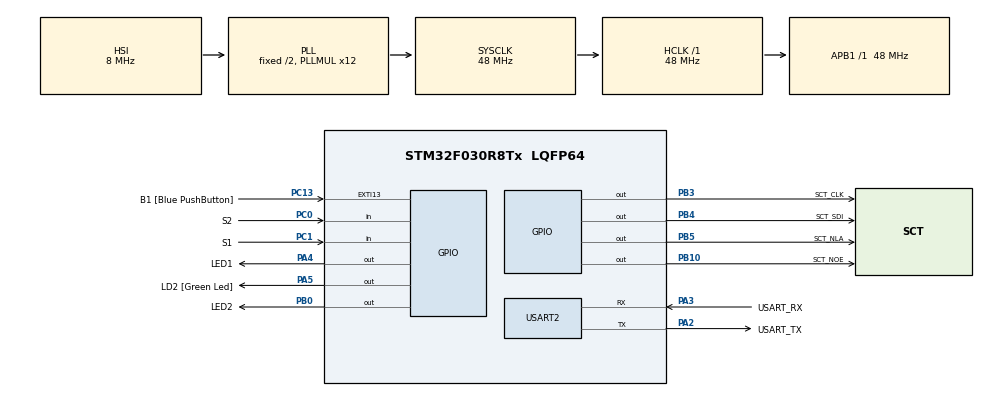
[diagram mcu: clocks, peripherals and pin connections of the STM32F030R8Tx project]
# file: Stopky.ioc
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Mcu.Family=STM32F0
Mcu.Name=STM32F030R8Tx
Mcu.Package=LQFP64
PA13.GPIO_Label=TMS
PA13.Mode=Serial_Wire
PA13.Signal=SYS_SWDIO
PA14.GPIO_Label=TCK
PA14.Mode=Serial_Wire
PA14.Signal=SYS_SWCLK
PA2.GPIO_Label=USART_TX
PA2.GPIO_Mode=GPIO_MODE_AF_PP
PA2.GPIO_PuPd=GPIO_NOPULL
PA2.GPIO_Speed=GPIO_SPEED_FREQ_LOW
PA2.Mode=Asynchronous
PA2.Signal=USART2_TX
PA3.GPIO_Label=USART_RX
PA3.GPIO_Mode=GPIO_MODE_AF_PP
PA3.GPIO_PuPd=GPIO_NOPULL
PA3.GPIO_Speed=GPIO_SPEED_FREQ_LOW
PA3.Mode=Asynchronous
PA3.Signal=USART2_RX
PA4.GPIO_Label=LED1
PA4.Signal=GPIO_Output
PA5.GPIO_Label=LD2 [Green Led]
PA5.GPIO_Mode=GPIO_MODE_OUTPUT_PP
PA5.GPIO_PuPd=GPIO_NOPULL
PA5.GPIO_Speed=GPIO_SPEED_FREQ_LOW
PA5.Signal=GPIO_Output
PB0.GPIO_Label=LED2
PB0.Signal=GPIO_Output
PB10.GPIO_Label=SCT_NOE
PB10.Signal=GPIO_Output
PB3.GPIO_Label=SCT_CLK
PB3.Signal=GPIO_Output
PB4.GPIO_Label=SCT_SDI
PB4.Signal=GPIO_Output
PB5.GPIO_Label=SCT_NLA
PB5.Signal=GPIO_Output
PC0.GPIO_Label=S2
PC0.GPIO_PuPd=GPIO_PULLUP
PC0.Signal=GPIO_Input
PC1.GPIO_Label=S1
PC1.GPIO_PuPd=GPIO_PULLUP
PC1.Signal=GPIO_Input
PC13.GPIO_Label=B1 [Blue PushButton]
PC13.GPIO_ModeDefaultEXTI=GPIO_MODE_IT_FALLING
PC13.Signal=GPXTI13
PC14-OSC32_IN.Mode=LSE-External-Oscillator
PC14-OSC32_IN.Signal=RCC_OSC32_IN
PC15-OSC32_OUT.Mode=LSE-External-Oscillator
PC15-OSC32_OUT.Signal=RCC_OSC32_OUT
PF0-OSC_IN.Mode=HSE-External-Clock-Source
PF0-OSC_IN.Signal=RCC_OSC_IN
PF1-OSC_OUT.Signal=RCC_OSC_OUT
ProjectManager.HeapSize=0x200
ProjectManager.StackSize=0x400
ProjectManager.TargetToolchain=STM32CubeIDE
RCC.AHBFreq_Value=48000000
RCC.APB1Freq_Value=48000000
RCC.APB1TimFreq_Value=48000000
RCC.HCLKFreq_Value=48000000
RCC.PLLMUL=RCC_PLL_MUL12
RCC.SYSCLKFreq_VALUE=48000000
RCC.SYSCLKSource=RCC_SYSCLKSOURCE_PLLCLK
USART2.VirtualMode-Asynchronous=VM_ASYNC
board=NUCLEO-F030R8

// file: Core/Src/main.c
/* USER CODE BEGIN Header */
/**
  ******************************************************************************
  * @file           : main.c
  * @brief          : Main program body
  ******************************************************************************
  * @attention
  *
  * Copyright (c) 2023 STMicroelectronics.
  * All rights reserved.
  *
  * This software is licensed under terms that can be found in the LICENSE file
  * in the root directory of this software component.
  * If no LICENSE file comes with this software, it is provided AS-IS.
  *
  ******************************************************************************
  */
/* USER CODE END Header */
#include "main.h"

/* USER CODE BEGIN Includes */
#include "sct.h"
/* USER CODE END Includes */

/* USER CODE BEGIN PD */
#define SECOND	1000
#define DEBOUNCE_TIME	100
/* USER CODE END PD */

UART_HandleTypeDef huart2;

void SystemClock_Config(void);
static void MX_GPIO_Init(void);
static void MX_USART2_UART_Init(void);

/* USER CODE BEGIN 0 */
volatile uint32_t Tick;
/* USER CODE END 0 */

int main(void)
{

  /* MCU Configuration--------------------------------------------------------*/

  /* Reset of all peripherals, Initializes the Flash interface and the Systick. */
  HAL_Init();

  /* Configure the system clock */
  SystemClock_Config();

  /* Initialize all configured peripherals */
  MX_GPIO_Init();
  MX_USART2_UART_Init();

  /* Infinite loop */
  /* USER CODE BEGIN WHILE */
  uint8_t minutes = 0;
  uint8_t seconds = 0;
  static uint32_t last_task_time = 0;
  uint8_t timer_started = 0;
  uint32_t s1_push_time = 0;
  uint32_t s1_state = HAL_GPIO_ReadPin(S1_GPIO_Port, S1_Pin);
  uint32_t s2_state = HAL_GPIO_ReadPin(S2_GPIO_Port, S2_Pin);

  uint32_t s2_push_time = 0;
  while (1)
  {
    /* USER CODE END WHILE */

    /* USER CODE BEGIN 3 */
	  if(HAL_GetTick() - last_task_time > SECOND && timer_started)
	  {
		  seconds++;
		  if(seconds == 60)
		  {
			  minutes++;
			  seconds = 0;
		  }
		  last_task_time = HAL_GetTick();
	  }
	  //// DEBOUNCE TLACITKA
	  if(HAL_GPIO_ReadPin(S1_GPIO_Port, S1_Pin) != s1_state)
	  {
		  s1_state = HAL_GPIO_ReadPin(S1_GPIO_Port, S1_Pin);
		  if(!s1_push_time)
		  {
			  s1_push_time = HAL_GetTick();
		  }
	  }
	  if(s1_push_time && HAL_GetTick() - s1_push_time > DEBOUNCE_TIME)
	  {
		  if(HAL_GPIO_ReadPin(S1_GPIO_Port, S1_Pin) == GPIO_PIN_RESET)
		  {
			  if(s1_state == GPIO_PIN_RESET)
			  {
				  timer_started = !timer_started; //TODO when pressed
			  }
		  }
		  s1_push_time = 0;
	  }
	  //// DEBOUNCE TLACITKA

	  if(HAL_GPIO_ReadPin(S2_GPIO_Port, S2_Pin) != s2_state)
	  {
		  s2_state = HAL_GPIO_ReadPin(S2_GPIO_Port, S2_Pin);
		  if(!s2_push_time)
		  {
			  s2_push_time = HAL_GetTick();
		  }
	  }
	  if(s2_push_time && HAL_GetTick() - s2_push_time > DEBOUNCE_TIME)
	  {
		  if(HAL_GPIO_ReadPin(S2_GPIO_Port, S2_Pin) == GPIO_PIN_RESET)
		  {
			  if(s2_state == GPIO_PIN_RESET)
			  {
				  if(timer_started)
				  {
					  timer_started = 0;
				  }
				  seconds = 0;
				  minutes = 0;
			  }
		  }
		  s2_push_time = 0;
	  }

	  sct_value(minutes * 100 + seconds, 8, 2);
  }
  /* USER CODE END 3 */
}

void SystemClock_Config(void)
{
  RCC_OscInitTypeDef RCC_OscInitStruct = {0};
  RCC_ClkInitTypeDef RCC_ClkInitStruct = {0};

  /** Initializes the RCC Oscillators according to the specified parameters
  * in the RCC_OscInitTypeDef structure.
  */
  RCC_OscInitStruct.OscillatorType = RCC_OSCILLATORTYPE_HSI;
  RCC_OscInitStruct.HSIState = RCC_HSI_ON;
  RCC_OscInitStruct.HSICalibrationValue = RCC_HSICALIBRATION_DEFAULT;
  RCC_OscInitStruct.PLL.PLLState = RCC_PLL_ON;
  RCC_OscInitStruct.PLL.PLLSource = RCC_PLLSOURCE_HSI;
  RCC_OscInitStruct.PLL.PLLMUL = RCC_PLL_MUL12;
  RCC_OscInitStruct.PLL.PREDIV = RCC_PREDIV_DIV1;
  if (HAL_RCC_OscConfig(&RCC_OscInitStruct) != HAL_OK)
  {
    Error_Handler();
  }

  /** Initializes the CPU, AHB and APB buses clocks
  */
  RCC_ClkInitStruct.ClockType = RCC_CLOCKTYPE_HCLK|RCC_CLOCKTYPE_SYSCLK
                              |RCC_CLOCKTYPE_PCLK1;
  RCC_ClkInitStruct.SYSCLKSource = RCC_SYSCLKSOURCE_PLLCLK;
  RCC_ClkInitStruct.AHBCLKDivider = RCC_SYSCLK_DIV1;
  RCC_ClkInitStruct.APB1CLKDivider = RCC_HCLK_DIV1;

  if (HAL_RCC_ClockConfig(&RCC_ClkInitStruct, FLASH_LATENCY_1) != HAL_OK)
  {
    Error_Handler();
  }
}

static void MX_USART2_UART_Init(void)
{

  huart2.Instance = USART2;
  huart2.Init.BaudRate = 38400;
  huart2.Init.WordLength = UART_WORDLENGTH_8B;
  huart2.Init.StopBits = UART_STOPBITS_1;
  huart2.Init.Parity = UART_PARITY_NONE;
  huart2.Init.Mode = UART_MODE_TX_RX;
  huart2.Init.HwFlowCtl = UART_HWCONTROL_NONE;
  huart2.Init.OverSampling = UART_OVERSAMPLING_16;
  huart2.Init.OneBitSampling = UART_ONE_BIT_SAMPLE_DISABLE;
  huart2.AdvancedInit.AdvFeatureInit = UART_ADVFEATURE_NO_INIT;
  if (HAL_UART_Init(&huart2) != HAL_OK)
  {
    Error_Handler();
  }

}

static void MX_GPIO_Init(void)
{
  GPIO_InitTypeDef GPIO_InitStruct = {0};

  /* GPIO Ports Clock Enable */
  __HAL_RCC_GPIOC_CLK_ENABLE();
  __HAL_RCC_GPIOF_CLK_ENABLE();
  __HAL_RCC_GPIOA_CLK_ENABLE();
  __HAL_RCC_GPIOB_CLK_ENABLE();

  /*Configure GPIO pin Output Level */
  HAL_GPIO_WritePin(GPIOA, LED1_Pin|LD2_Pin, GPIO_PIN_RESET);

  /*Configure GPIO pin Output Level */
  HAL_GPIO_WritePin(GPIOB, LED2_Pin|SCT_NOE_Pin|SCT_CLK_Pin|SCT_SDI_Pin
                          |SCT_NLA_Pin, GPIO_PIN_RESET);

  /*Configure GPIO pin : B1_Pin */
  GPIO_InitStruct.Pin = B1_Pin;
  GPIO_InitStruct.Mode = GPIO_MODE_IT_FALLING;
  GPIO_InitStruct.Pull = GPIO_NOPULL;
  HAL_GPIO_Init(B1_GPIO_Port, &GPIO_InitStruct);

  /*Configure GPIO pins : S2_Pin S1_Pin */
  GPIO_InitStruct.Pin = S2_Pin|S1_Pin;
  GPIO_InitStruct.Mode = GPIO_MODE_INPUT;
  GPIO_InitStruct.Pull = GPIO_PULLUP;
  HAL_GPIO_Init(GPIOC, &GPIO_InitStruct);

  /*Configure GPIO pins : LED1_Pin LD2_Pin */
  GPIO_InitStruct.Pin = LED1_Pin|LD2_Pin;
  GPIO_InitStruct.Mode = GPIO_MODE_OUTPUT_PP;
  GPIO_InitStruct.Pull = GPIO_NOPULL;
  GPIO_InitStruct.Speed = GPIO_SPEED_FREQ_LOW;
  HAL_GPIO_Init(GPIOA, &GPIO_InitStruct);

  /*Configure GPIO pins : LED2_Pin SCT_NOE_Pin SCT_CLK_Pin SCT_SDI_Pin
                           SCT_NLA_Pin */
  GPIO_InitStruct.Pin = LED2_Pin|SCT_NOE_Pin|SCT_CLK_Pin|SCT_SDI_Pin
                          |SCT_NLA_Pin;
  GPIO_InitStruct.Mode = GPIO_MODE_OUTPUT_PP;
  GPIO_InitStruct.Pull = GPIO_NOPULL;
  GPIO_InitStruct.Speed = GPIO_SPEED_FREQ_LOW;
  HAL_GPIO_Init(GPIOB, &GPIO_InitStruct);

}

void Error_Handler(void)
{
  __disable_irq();
  while (1)
  {
  }
}
